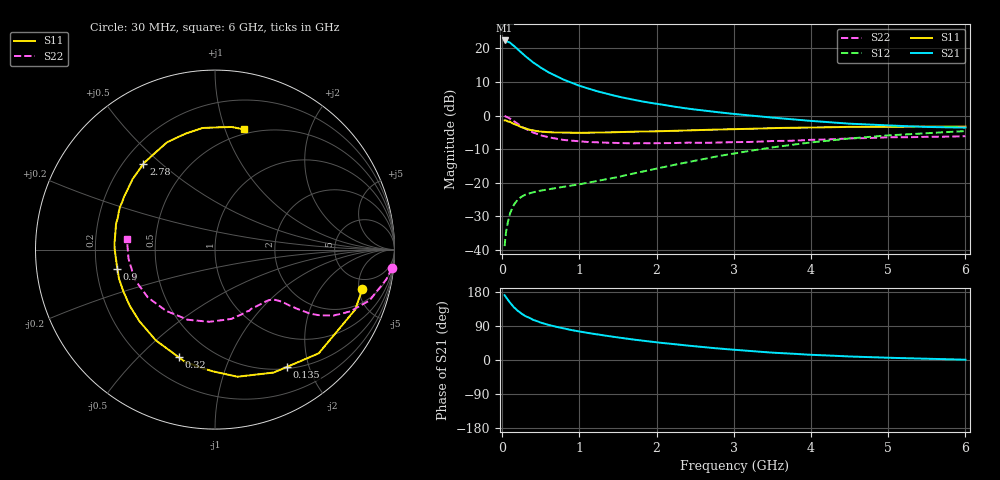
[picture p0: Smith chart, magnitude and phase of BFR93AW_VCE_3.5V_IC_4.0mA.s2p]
! Infineon Technologies  Discrete & RF Semiconductors
! BFR93AW
! VCE =  3.5 V,  IC =  4.0 mA
! Common Emitter S-Parameters:  Nov 2015
# GHz  S  MA  R  50
!  f  S11  S21  S12  S22
! GHz  MAG  ANG  MAG  ANG  MAG  ANG  MAG  ANG
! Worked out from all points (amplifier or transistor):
!   206 points, 30 MHz to 6 GHz, reference 50 ohm
!   highest |S21| = 22.4 dB at 30 MHz (marker M1)
!   |S21| within 3 dB of that: start of sweep to 217.4 MHz
!   unconditionally stable (mu >= 1): 999.9 MHz to 2.319 GHz
!   at 200 MHz: K = 0.26, MSG = 22.4 dB, |S12| = -25.0 dB
!   at 1.56 GHz: K = 1.11, MAG = 9.6 dB, |S12| = -17.9 dB
!   at 6 GHz: K = 0.95, MSG = 0.5 dB, |S12| = -4.6 dB
!   S11 on the Smith chart (normalised r, x): 30 MHz: 3.48, -5.49; 135 MHz: 0.53, -1.67; 320 MHz: 0.33, -0.67; 900 MHz: 0.29, -0.09; 2.78 GHz: 0.28, +0.44; 6 GHz: 0.46, +1.16
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0.03  0.8501 -14.9  13.16 171.0  0.0114 80.8  0.9911 -6.0
0.05  0.8499 -23.1  13.03 164.8  0.0189 77.8  0.9693 -9.8
0.1  0.8173 -45.0  12.22 151.2  0.0349 67.5  0.9069 -18.2
0.135  0.7668 -58.4  11.27 143.1  0.0433 61.0  0.8507 -22.5
0.15  0.759 -64.5  10.94 139.2  0.0471 59.0  0.8282 -24.6
0.2  0.7192 -80.0  9.733 129.9  0.0561 52.7  0.7557 -29.1
0.26  0.6657 -95.8  8.402 120.9  0.0631 48.1  0.6782 -32.5
0.3  0.6466 -105.1  7.665 115.8  0.0666 45.4  0.6379 -34.0
0.32  0.6332 -108.5  7.354 114.1  0.0678 44.7  0.6222 -34.3
0.4  0.6037 -123.1  6.188 106.0  0.0724 42.4  0.5595 -35.9
0.5  0.5802 -136.6  5.176 98.5  0.0767 41.7  0.5084 -37.1
0.6  0.5688 -146.7  4.41 92.5  0.0804 41.8  0.4758 -37.8
0.7  0.5613 -155.3  3.859 87.5  0.0838 43.1  0.4534 -38.8
0.9  0.5548 -168.8  3.069 78.9  0.091 46.7  0.424 -41.1
1.04  0.5553 -176.1  2.691 73.8  0.097 49.4  0.411 -43.4
1.5  0.5695 165.6  1.924 59.5  0.1221 58.0  0.3926 -53.2
2.02  0.5866 149.2  1.484 46.1  0.1647 63.5  0.3899 -66.9
2.78  0.6223 129.9  1.13 30.8  0.2475 63.6  0.3973 -88.5
3.1  0.6324 122.6  1.034 25.6  0.2852 61.5  0.4037 -97.9
4.1  0.6683 102.6  0.819 12.9  0.4102 51.0  0.4385 -132.0
5.1  0.6827 87.2  0.708 5.4  0.516 37.4  0.4761 -162.4
6  0.6885 76.4  0.663 0.8  0.5889 25.8  0.4943 173.2
